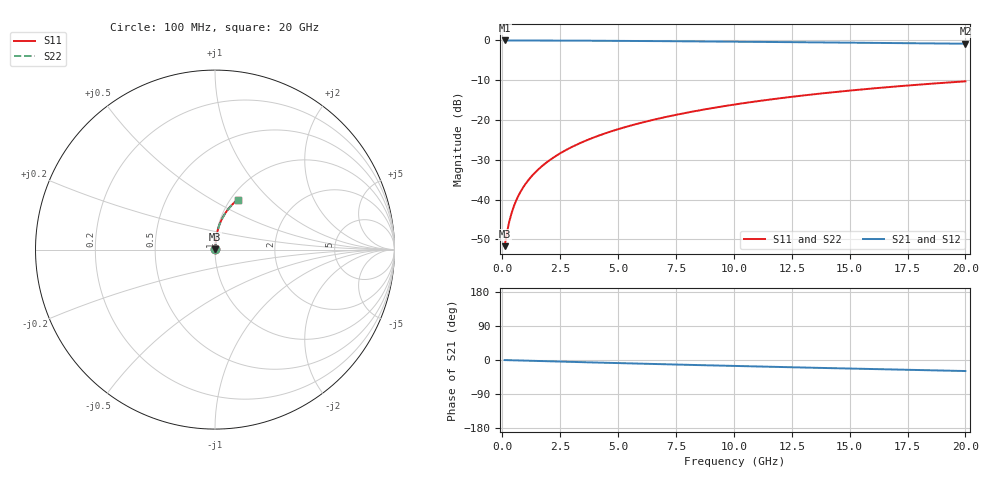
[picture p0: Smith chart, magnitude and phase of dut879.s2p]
! Touchstone file exported from HFSS 2024.1.0
!  File:  C:/UserFiles/LocalFiles/RDL_TSV_Batchsim/temp_RDL_bottom_879_1779865373.aedt
!  Generated:  03:05:36 PM May 27, 2026
!  Design:  RDL_bottom
!  Project:  temp_RDL_bottom_879_1779865373
!  Setup:  Setup1
!  Solution:  Sweep
! Variables:
!  dtsv = 10.80580581um
!  hbump = 3um
!  htsv = 91.69um
!  ldown = 387.54um
!  lrdl = 100um
!  p = 40
!  p1 = 46.64um
!  rhole = 1um
!  t = 450um
!  tdown = 4.12um
!  trdl = 3.915915916um
!  wdown = 17.74um
!  wrdl = 20um
# GHz S MA R 50.000000
! Terminal data exported
! Port[1] = RDL1_T1
! Port[2] = RDL1_T2
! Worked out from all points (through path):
!   200 points, 100 MHz to 20 GHz, reference 50 ohm
!   highest |S21| = -0.02 dB at 100 MHz (marker M1); lowest = -0.8 dB at 20 GHz (marker M2)
!   group delay of S21, straight-line fit = 4.02 ps
!   lowest |S11| = -51.7 dB at 100 MHz (marker M3), VSWR 1.01, Z = 50.2 + j0.163 ohm
!   |S11| at or under -10 dB: start of sweep to end of sweep
!   |S22| runs from -51.7 to -10.3 dB; largest |S21 - S12| = 3.5e-15
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0.1  0.002596 38.6  0.998 -0.2  0.998 -0.2  0.002596 38.6
! Gamma 0 0 0 0
! Port Impedance 50 0 50 0
0.2  0.003837 57.2  0.9979 -0.3  0.9979 -0.3  0.003837 57.3
0.3  0.005269 66.0  0.9978 -0.5  0.9978 -0.5  0.005269 66.0
0.4  0.006751 70.8  0.9977 -0.7  0.9977 -0.7  0.006751 70.8
0.5  0.008243 73.7  0.9976 -0.9  0.9976 -0.9  0.008244 73.8
0.6  0.009734 75.8  0.9975 -1.0  0.9975 -1.0  0.009735 75.8
0.8  0.01271 78.5  0.9973 -1.4  0.9973 -1.4  0.01271 78.5
1.1  0.01716 80.8  0.997 -1.9  0.997 -1.9  0.01716 80.8
1.5  0.0231 82.5  0.9964 -2.5  0.9964 -2.5  0.02311 82.5
1.8  0.02759 83.3  0.9959 -3.0  0.9959 -3.0  0.02759 83.3
2.1  0.03209 83.7  0.9954 -3.5  0.9954 -3.5  0.03209 83.7
2.7  0.04115 84.2  0.994 -4.5  0.994 -4.5  0.04115 84.2
3.5  0.05335 84.3  0.9917 -5.8  0.9917 -5.8  0.05335 84.3
4.2  0.06413 84.1  0.9894 -6.9  0.9894 -6.9  0.06413 84.1
5  0.07656 83.7  0.9864 -8.2  0.9864 -8.2  0.07656 83.7
5.9  0.09068 83.1  0.9827 -9.6  0.9827 -9.6  0.09068 83.1
6.8  0.1049 82.3  0.9788 -11.0  0.9788 -11.0  0.1049 82.3
8.4  0.1304 80.6  0.9712 -13.3  0.9712 -13.3  0.1304 80.6
10.1  0.1575 78.6  0.9628 -15.8  0.9628 -15.8  0.1575 78.6
13.4  0.2095 74.3  0.9454 -20.4  0.9454 -20.4  0.2095 74.3
16.7  0.2593 69.9  0.9272 -24.8  0.9272 -24.8  0.2593 69.9
20  0.3061 65.5  0.9082 -29.1  0.9082 -29.1  0.306 65.5
